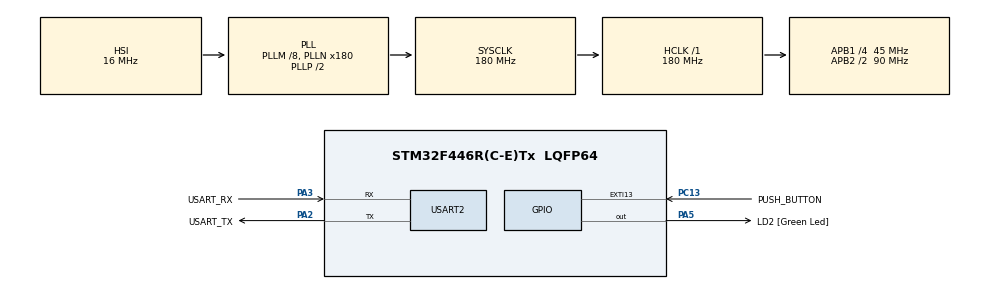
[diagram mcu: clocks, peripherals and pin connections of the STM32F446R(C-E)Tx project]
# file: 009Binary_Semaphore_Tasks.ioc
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Mcu.Family=STM32F4
VP_SYS_VS_tim6.Mode=TIM6
PH0-OSC_IN.Signal=RCC_OSC_IN
RCC.CortexFreq_Value=180000000
NVIC.TIM6_DAC_IRQn=true\:0\:0\:false\:false\:true\:false\:true
PC13.Signal=GPXTI13
PA14.GPIO_Label=TCK
VP_RTC_VS_RTC_Activate.Mode=RTC_Enabled
PC13.GPIO_Label=PUSH_BUTTON
RCC.APB1CLKDivider=RCC_HCLK_DIV4
PC14-OSC32_IN.Signal=RCC_OSC32_IN
NVIC.USART2_IRQn=true\:6\:0\:true\:false\:true\:true\:true
RCC.SYSCLKSource=RCC_SYSCLKSOURCE_PLLCLK
ProjectManager.StackSize=0x400
PA13.Signal=SYS_JTMS-SWDIO
PA3.Mode=Asynchronous
ProjectManager.TargetToolchain=STM32CubeIDE
RCC.HCLKFreq_Value=180000000
RCC.APB2TimFreq_Value=180000000
RCC.USBFreq_Value=180000000
RCC.LSE_VALUE=32768
PC15-OSC32_OUT.Signal=RCC_OSC32_OUT
RCC.AHBFreq_Value=180000000
PA5.Signal=GPIO_Output
RCC.HSE_VALUE=8000000
board=NUCLEO-F446RE
RCC.VCOOutputFreq_Value=360000000
RCC.APB2Freq_Value=90000000
PH1-OSC_OUT.Signal=RCC_OSC_OUT
Mcu.Name=STM32F446R(C-E)Tx
PA2.Signal=USART2_TX
PA13.GPIO_Label=TMS
RCC.FLatency-AdvancedSettings=FLASH_LATENCY_5
PB3.Signal=SYS_JTDO-SWO
RCC.SYSCLKFreq_VALUE=180000000
Mcu.Package=LQFP64
NVIC.TimeBase=TIM6_DAC_IRQn
PA5.GPIO_Label=LD2 [Green Led]
PC13.GPIO_ModeDefaultEXTI=GPIO_MODE_IT_RISING
USART2.VirtualMode=VM_ASYNC
PA2.GPIO_Label=USART_TX
NVIC.TimeBaseIP=TIM6
PA14.Signal=SYS_JTCK-SWCLK
RTC.HourFormat=RTC_HOURFORMAT_12
ProjectManager.HeapSize=0x200
RCC.HSI_VALUE=16000000
NVIC.PriorityGroup=NVIC_PRIORITYGROUP_4
RCC.APB2CLKDivider=RCC_HCLK_DIV2
RCC.PLLM=8
RCC.PLLN=180
RCC.APB1TimFreq_Value=90000000
PA2.Mode=Asynchronous
RCC.APB1Freq_Value=45000000
PA3.GPIO_Label=USART_RX
PA3.Signal=USART2_RX
PB3.GPIO_Label=SWO

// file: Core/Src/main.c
/* USER CODE BEGIN Header */
/**
  ******************************************************************************
  * @file           : main.c
  * @brief          : Main program body
  ******************************************************************************
  * @attention
  *
  * <h2><center>&copy; Copyright (c) 2021 STMicroelectronics.
  * All rights reserved.</center></h2>
  *
  * This software component is licensed by ST under BSD 3-Clause license,
  * the "License"; You may not use this file except in compliance with the
  * License. You may obtain a copy of the License at:
  *                        opensource.org/licenses/BSD-3-Clause
  *
  ******************************************************************************
  */
/* USER CODE END Header */
#include "main.h"

/* USER CODE BEGIN Includes */
#include "stm32f4xx.h"
/* USER CODE END Includes */

/* USER CODE BEGIN PM */
#define DWT_CTRL    (*(volatile uint32_t*)0xE0001000)

/* USER CODE END PM */

RTC_HandleTypeDef hrtc;

UART_HandleTypeDef huart2;

/* USER CODE BEGIN PV */
//Global Variables
char usr_msg[250] = {0};
volatile uint8_t user_data;

TaskHandle_t xTaskHandleM = NULL;
TaskHandle_t xTaskHandleE = NULL;
/* USER CODE END PV */

void SystemClock_Config(void);
static void MX_GPIO_Init(void);
static void MX_RTC_Init(void);
static void MX_USART2_UART_Init(void);
/* USER CODE BEGIN PFP */

void printmsg(char *msg);

static void vManagerTask(void *pvParameters);
static void vEmployeeTask(void *pvParameters);

extern void SEGGER_UART_init(uint32_t);
/* USER CODE END PFP */

/* USER CODE BEGIN 0 */

/* Semaphore Handle is used to reference the semaphore that is used to synchronize both manager and employee tasks */
xSemaphoreHandle xWork;
/* The Queue which the manager uses to put the work ticket id */
xQueueHandle xWorkQueue;

/* USER CODE END 0 */

int main(void)
{
  /* USER CODE BEGIN 1 */
	SEGGER_UART_init(500000);
	// Used to collect SEGGER Event time-stamps
	DWT->CTRL |= (1 << 0); //Enable CYCCNT in DWT_CTRL
  /* USER CODE END 1 */

  /* MCU Configuration--------------------------------------------------------*/

  /* Reset of all peripherals, Initializes the Flash interface and the Systick. */
  HAL_Init();

  /* Configure the system clock */
  SystemClock_Config();

  /* Initialize all configured peripherals */
  MX_GPIO_Init();
  MX_RTC_Init();
  MX_USART2_UART_Init();
  /* USER CODE BEGIN 2 */

  //Start Recording with Segger SystemView
  	SEGGER_SYSVIEW_Conf();
  	//SEGGER_SYSVIEW_Start();

  	sprintf(usr_msg, "Demo of Binary semaphore usage between 2 Tasks\r\n");
  	printmsg(usr_msg);

  	/* Dynamic memory allocation of Semaphore and Queue */
  	//Create binary semaphore explicitly before use
  	vSemaphoreCreateBinary(xWork);
  	//Create queue to hold a maximum of 1 element
  	xWorkQueue = xQueueCreate(1, sizeof(unsigned int));

	HAL_UART_Receive_IT(&huart2, (uint8_t*)&user_data, 1);

	//Check for successful creation of semaphore and queue
	if((xWork != NULL) && (xWorkQueue != NULL)) {
		//Create the higher priority Manager Task which will be synchronized with the Employee Task
		xTaskCreate(vManagerTask, "Manager", 500, NULL, 3, NULL);
		//Create the lower priority Employee Task
		xTaskCreate(vEmployeeTask, "Employee", 500, NULL, 1, NULL);
		//Start the freeRTOS scheduler
		vTaskStartScheduler();
	}

	sprintf(usr_msg, "Queue/Semaphore creation failed... \r\n");
	printmsg(usr_msg);

	//Code will never reach here if creation of Queue/Semaphore was successful because the scheduler will be running the tasks indefinitely.
	//If it does reach here, then it is likely due to insufficient heap memory available for a resource to be created.

  /* USER CODE END 2 */

  /* Infinite loop */
	while(1)
	{

	}
}

void SystemClock_Config(void)
{
  RCC_OscInitTypeDef RCC_OscInitStruct = {0};
  RCC_ClkInitTypeDef RCC_ClkInitStruct = {0};
  RCC_PeriphCLKInitTypeDef PeriphClkInitStruct = {0};

  /** Configure the main internal regulator output voltage
  */
  __HAL_RCC_PWR_CLK_ENABLE();
  __HAL_PWR_VOLTAGESCALING_CONFIG(PWR_REGULATOR_VOLTAGE_SCALE1);
  /** Initializes the RCC Oscillators according to the specified parameters
  * in the RCC_OscInitTypeDef structure.
  */
  RCC_OscInitStruct.OscillatorType = RCC_OSCILLATORTYPE_HSI|RCC_OSCILLATORTYPE_LSI;
  RCC_OscInitStruct.LSEState = RCC_LSE_OFF;
  RCC_OscInitStruct.HSIState = RCC_HSI_ON;
  RCC_OscInitStruct.HSICalibrationValue = RCC_HSICALIBRATION_DEFAULT;
  RCC_OscInitStruct.LSIState = RCC_LSI_ON;
  RCC_OscInitStruct.PLL.PLLState = RCC_PLL_ON;
  RCC_OscInitStruct.PLL.PLLSource = RCC_PLLSOURCE_HSI;
  RCC_OscInitStruct.PLL.PLLM = 8;
  RCC_OscInitStruct.PLL.PLLN = 180;
  RCC_OscInitStruct.PLL.PLLP = RCC_PLLP_DIV2;
  RCC_OscInitStruct.PLL.PLLQ = 2;
  RCC_OscInitStruct.PLL.PLLR = 2;
  if (HAL_RCC_OscConfig(&RCC_OscInitStruct) != HAL_OK)
  {
    Error_Handler();
  }
  /** Activate the Over-Drive mode
  */
  if (HAL_PWREx_EnableOverDrive() != HAL_OK)
  {
    Error_Handler();
  }
  /** Initializes the CPU, AHB and APB buses clocks
  */
  RCC_ClkInitStruct.ClockType = RCC_CLOCKTYPE_HCLK|RCC_CLOCKTYPE_SYSCLK
                              |RCC_CLOCKTYPE_PCLK1|RCC_CLOCKTYPE_PCLK2;
  RCC_ClkInitStruct.SYSCLKSource = RCC_SYSCLKSOURCE_PLLCLK;
  RCC_ClkInitStruct.AHBCLKDivider = RCC_SYSCLK_DIV1;
  RCC_ClkInitStruct.APB1CLKDivider = RCC_HCLK_DIV4;
  RCC_ClkInitStruct.APB2CLKDivider = RCC_HCLK_DIV2;

  if (HAL_RCC_ClockConfig(&RCC_ClkInitStruct, FLASH_LATENCY_5) != HAL_OK)
  {
    Error_Handler();
  }
  PeriphClkInitStruct.PeriphClockSelection = RCC_PERIPHCLK_RTC;
  PeriphClkInitStruct.RTCClockSelection = RCC_RTCCLKSOURCE_LSI;
  if (HAL_RCCEx_PeriphCLKConfig(&PeriphClkInitStruct) != HAL_OK)
  {
    Error_Handler();
  }
}

static void MX_RTC_Init(void)
{

  /** Initialize RTC Only
  */
  hrtc.Instance = RTC;
  hrtc.Init.HourFormat = RTC_HOURFORMAT_12;
  hrtc.Init.AsynchPrediv = 127;
  hrtc.Init.SynchPrediv = 255;
  hrtc.Init.OutPut = RTC_OUTPUT_DISABLE;
  hrtc.Init.OutPutPolarity = RTC_OUTPUT_POLARITY_HIGH;
  hrtc.Init.OutPutType = RTC_OUTPUT_TYPE_OPENDRAIN;
  if (HAL_RTC_Init(&hrtc) != HAL_OK)
  {
    Error_Handler();
  }

}

static void MX_USART2_UART_Init(void)
{

  huart2.Instance = USART2;
  huart2.Init.BaudRate = 115200;
  huart2.Init.WordLength = UART_WORDLENGTH_8B;
  huart2.Init.StopBits = UART_STOPBITS_1;
  huart2.Init.Parity = UART_PARITY_NONE;
  huart2.Init.Mode = UART_MODE_TX_RX;
  huart2.Init.HwFlowCtl = UART_HWCONTROL_NONE;
  huart2.Init.OverSampling = UART_OVERSAMPLING_16;
  if (HAL_UART_Init(&huart2) != HAL_OK)
  {
    Error_Handler();
  }

}

static void MX_GPIO_Init(void)
{
  GPIO_InitTypeDef GPIO_InitStruct = {0};

  /* GPIO Ports Clock Enable */
  __HAL_RCC_GPIOC_CLK_ENABLE();
  __HAL_RCC_GPIOH_CLK_ENABLE();
  __HAL_RCC_GPIOA_CLK_ENABLE();
  __HAL_RCC_GPIOB_CLK_ENABLE();

  /*Configure GPIO pin Output Level */
  HAL_GPIO_WritePin(LD2_GPIO_Port, LD2_Pin, GPIO_PIN_RESET);

  /*Configure GPIO pin : PUSH_BUTTON_Pin */
  GPIO_InitStruct.Pin = PUSH_BUTTON_Pin;
  GPIO_InitStruct.Mode = GPIO_MODE_IT_RISING;
  GPIO_InitStruct.Pull = GPIO_NOPULL;
  HAL_GPIO_Init(PUSH_BUTTON_GPIO_Port, &GPIO_InitStruct);

  /*Configure GPIO pin : LD2_Pin */
  GPIO_InitStruct.Pin = LD2_Pin;
  GPIO_InitStruct.Mode = GPIO_MODE_OUTPUT_PP;
  GPIO_InitStruct.Pull = GPIO_NOPULL;
  GPIO_InitStruct.Speed = GPIO_SPEED_FREQ_LOW;
  HAL_GPIO_Init(LD2_GPIO_Port, &GPIO_InitStruct);

}

/* USER CODE BEGIN 4 */
void vManagerTask(void *pvParameters) {

	unsigned int xWorkTicketId;
	portBASE_TYPE xStatus;

	/* The semaphore is created in the 'empty' state, meaning it must first be given using xSemaphoreGive()
	 * before it can subsequently be taken (obtained) */
	xSemaphoreGive(xWork);

	for(;;) {
		/* Get a work Ticket ID (random number) */
		xWorkTicketId = (rand() & 0x1FF);

		/* Send work Ticket ID to the work queue */
		xStatus = xQueueSend(xWorkQueue, &xWorkTicketId, portMAX_DELAY); //Post an item to the back of the queue

		if(xStatus != pdPASS) {
			sprintf(usr_msg, "Could not send to the queue.\r\n");
			printmsg(usr_msg);
		} else {
			/* Manager notifying the employee by "Giving" semaphore */
			xSemaphoreGive(xWork);
			/* After assigning the work, yield the processor because nothing else to do */
			taskYIELD();
		}
	}
}

void EmployeeDoWork(unsigned char TicketId) {
	/* Implement the work according to Ticket ID */
	sprintf(usr_msg, "Employee Task : Working on Ticket ID : %d\r\n", TicketId);
	printmsg(usr_msg);
	vTaskDelay(TicketId);
}

static void vEmployeeTask(void *pvParameters) {

	unsigned char xWorkTicketId;
	portBASE_TYPE xStatus;

	for(;;) {
		/* First the Employee tries to take the semaphore, if it is available that means there is a task
		 * assigned by the Manager, otherwise Employee task will be blocked */
		xSemaphoreTake(xWork, 0);

		/* Get the ticket id from the work queue */
		xStatus = xQueueReceive(xWorkQueue, &xWorkTicketId, 0);

		if(xStatus == pdPASS) {
			/* Employee may decode the xWorkTicketId in this function to do the work */
			EmployeeDoWork(xWorkTicketId);
		} else {
			/* Nothing was received from the queue. Error occurred, since this task should
			only run when the Manager assigns at least one 'assignment'. */
			sprintf(usr_msg, "Employee task : Queue is empty, nothing to do.\r\n");
			printmsg(usr_msg);
		}
	}
}

void printmsg(char *msg) {

	for(uint32_t i = 0; i < strlen(msg); i++) {
		HAL_UART_Transmit(&huart2, (uint8_t*)&msg[i], sizeof(msg[i]), HAL_MAX_DELAY);
	}
}

/* USER CODE END 4 */

 /**
  * @brief  Period elapsed callback in non blocking mode
  * @note   This function is called  when TIM6 interrupt took place, inside
  * HAL_TIM_IRQHandler(). It makes a direct call to HAL_IncTick() to increment
  * a global variable "uwTick" used as application time base.
  * @param  htim : TIM handle
  * @retval None
  */
void HAL_TIM_PeriodElapsedCallback(TIM_HandleTypeDef *htim)
{
  if (htim->Instance == TIM6) {
    HAL_IncTick();
  }
}

void Error_Handler(void)
{
  __disable_irq();
  while (1)
  {
  }
}

/************************ (C) COPYRIGHT STMicroelectronics *****END OF FILE****/
